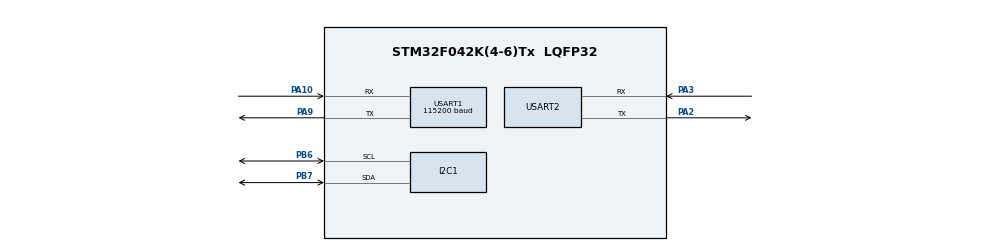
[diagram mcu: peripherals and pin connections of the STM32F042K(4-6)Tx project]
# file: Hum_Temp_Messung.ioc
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I2C1.Timing=0x00201D2B
Mcu.Family=STM32F0
Mcu.Name=STM32F042K(4-6)Tx
Mcu.Package=LQFP32
PA10.Mode=Asynchronous
PA10.Signal=USART1_RX
PA13.Mode=Serial_Wire
PA13.Signal=SYS_SWDIO
PA14.Mode=Serial_Wire
PA14.Signal=SYS_SWCLK
PA2.Mode=Asynchronous
PA2.Signal=USART2_TX
PA3.Mode=Asynchronous
PA3.Signal=USART2_RX
PA9.Mode=Asynchronous
PA9.Signal=USART1_TX
PB6.Mode=I2C
PB6.Signal=I2C1_SCL
PB7.Mode=I2C
PB7.Signal=I2C1_SDA
ProjectManager.HeapSize=0x200
ProjectManager.StackSize=0x400
ProjectManager.TargetToolchain=STM32CubeIDE
USART1.BaudRate=115200
USART1.VirtualMode-Asynchronous=VM_ASYNC
USART2.VirtualMode-Asynchronous=VM_ASYNC
board=NUCLEO-F042K6

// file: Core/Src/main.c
/* USER CODE BEGIN Header */
/**
  ******************************************************************************
  * @file           : main.c
  * @brief          : Main program body
  ******************************************************************************
  * @attention
  *
  * Copyright (c) 2026 STMicroelectronics.
  * All rights reserved.
  *
  * This software is licensed under terms that can be found in the LICENSE file
  * in the root directory of this software component.
  * If no LICENSE file comes with this software, it is provided AS-IS.
  *
  ******************************************************************************
  */
/* USER CODE END Header */
#include "main.h"

/* USER CODE BEGIN Includes */
#include "string.h"
#include "stdio.h"
#include <stdbool.h>
#include <stdlib.h>
/* USER CODE END Includes */

/* USER CODE BEGIN PTD */

// Neue Variablen als Integer (2 Dezimalstellen, z.B. 2345 = 23,45°C)
int32_t temperature_x100 = 0;
int32_t humidity_x100 = 0;

bool esp_connected = false;

/* USER CODE END PTD */

/* USER CODE BEGIN PD */

#define SLAVE_ID 1

#define RX_BUF_SIZE          1500

// --- WLAN Zugangsdaten ---
#define WIFI_SSID            "Tyler"
#define WIFI_PASS            "12345678"

// --- Ziel: ESP#2 (TCP-Server) ---
#define ESP2_IP              "10.49.147.123"   // <- später anpassen!
#define ESP2_PORT            5000             // <- später anpassen!

// --- Sendeintervall ---
#define SEND_INTERVAL_MS     4000

/* USER CODE END PD */

I2C_HandleTypeDef hi2c1;

UART_HandleTypeDef huart1;
UART_HandleTypeDef huart2;

void SystemClock_Config(void);
static void MX_GPIO_Init(void);
static void MX_USART2_UART_Init(void);
static void MX_I2C1_Init(void);
static void MX_USART1_UART_Init(void);

/* USER CODE BEGIN 0 */

/* ----------------------------------------------------------
 *  Sensor auslesen
 * ---------------------------------------------------------- */
void sht3x_read(void) {

  HAL_UART_Transmit(&huart2, (uint8_t*)"Lese Sensor...\r\n", 17, HAL_MAX_DELAY);

  uint8_t cmd[] = {0x24, 0x00};  // Single shot, high repeatability, no clock stretching, Messung mit hoher Genauigkeit
  uint8_t data[6]; //6 Bytes von SHT3X für die Werte
  char msg[64];    //Für Textuelle Ausgabe

  if (HAL_I2C_Master_Transmit(&hi2c1, (0x44 << 1), cmd, 2, HAL_MAX_DELAY) != HAL_OK) {    //Sendet cmd mit 2 Bytes und überprüft ob es geklappt hat
    HAL_UART_Transmit(&huart2, (uint8_t*)"Fehler beim Senden\r\n", 22, HAL_MAX_DELAY);    //Fehlermeldung Falls es nicht geklappt hat
    return;
  }

  HAL_Delay(15);  // Messzeit abwarten(Wert von Datenblatt)

  if (HAL_I2C_Master_Receive(&hi2c1, (0x44 << 1), data, 6, HAL_MAX_DELAY) != HAL_OK) {    //Es werden 6 Bytes(Werte) vom Sensor in das Array data eingelesen und überprüft ob es geklappt hat
    HAL_UART_Transmit(&huart2, (uint8_t*)"Fehler beim Empfangen\r\n", 25, HAL_MAX_DELAY); //Fehlermeldung Falls es nicht geklappt hat
    return;
  }

  // Temperatur berechnen, ohne float
  uint16_t temp_raw = (data[0] << 8) | data[1]; //Rohwerte zusammenbauen
  // Formel: temp = -45 + 175 * (temp_raw / 65535)
  // Umrechnung in Ganzzahl mit Faktor 100:
  // temperature_x100 = (-45 + 175 * temp_raw / 65535) * 100
  // => temperature_x100 = -4500 + (17500 * temp_raw) / 65535
  temperature_x100 = -4500 + (17500 * (int32_t)temp_raw) / 65535; //Berechnung von Temp Werten

  // Feuchtigkeit berechnen, ohne float
  uint16_t hum_raw = (data[3] << 8) | data[4]; //Rohwerte zusammenbauen
  // Formel: humidity = 100 * (hum_raw / 65535)
  // => humidity_x100 = (10000 * hum_raw) / 65535
  humidity_x100 = (10000 * (int32_t)hum_raw) / 65535; //Berechnung von Hum Werten

  // Ausgabe über UART, mit fester Kommazahl (2 Dezimalstellen)
  snprintf(msg, sizeof(msg), "Temp: %ld.%02ld C, Feuchte: %ld.%02ld %%\r\n",
           temperature_x100 / 100, temperature_x100 % 100, //Werte mit 2 Kommastellen angeben
           humidity_x100 / 100, humidity_x100 % 100);      //Werte mit 2 Kommastellen angeben

  HAL_UART_Transmit(&huart2, (uint8_t*)msg, strlen(msg), HAL_MAX_DELAY);

}

void ESP_SendCmd(const char *cmd, uint32_t timeout)
{
    uint8_t rx[RX_BUF_SIZE];
    uint16_t idx = 0;
    uint8_t ch;
    uint32_t start = HAL_GetTick();

    memset(rx, 0, RX_BUF_SIZE);
    HAL_UART_Transmit(&huart1, (uint8_t*)cmd, strlen(cmd), HAL_MAX_DELAY);

    // Debug-Ausgabe
    HAL_UART_Transmit(&huart2, (uint8_t*)">>> ", 4, HAL_MAX_DELAY);
    HAL_UART_Transmit(&huart2, (uint8_t*)cmd, strlen(cmd), HAL_MAX_DELAY);

    while ((HAL_GetTick() - start) < timeout && idx < (RX_BUF_SIZE - 1))
    {
        if (HAL_UART_Receive(&huart1, &ch, 1, 200) == HAL_OK)
        {
            rx[idx++] = ch;
        }
    }
    rx[idx] = '\0';
    HAL_UART_Transmit(&huart2, (uint8_t*)" <- ", 4, HAL_MAX_DELAY);
    HAL_UART_Transmit(&huart2, rx, strlen((char*)rx), HAL_MAX_DELAY);
    HAL_UART_Transmit(&huart2, (uint8_t*)"\r\n", 2, HAL_MAX_DELAY);
}

void ESP_Init(void)
{
    HAL_UART_Transmit(&huart2, (uint8_t*)"\r\n--- ESP WLAN Verbinden (Client) ---\r\n", 38, HAL_MAX_DELAY);

    // 1) Test, Reset, Basis-Setup
    ESP_SendCmd("AT\r\n", 2000);
    HAL_Delay(300);
    ESP_SendCmd("AT+RST\r\n", 5000);
    HAL_Delay(3000); // warten bis "ready"
    ESP_SendCmd("AT\r\n", 2000);
    HAL_Delay(300);
    ESP_SendCmd("ATE0\r\n", 1000);              // Echo aus
    HAL_Delay(100);
    ESP_SendCmd("AT+CIPDINFO=0\r\n", 1000);     // kompakter +IPD-Header
    HAL_Delay(100);

    // 2) Station-Mode
    ESP_SendCmd("AT+CWMODE_DEF=1\r\n", 2000);
    HAL_Delay(200);

    // 3) Vorherige WLAN-Verbindung trennen
    ESP_SendCmd("AT+CWQAP\r\n", 2000);
    HAL_Delay(200);

    // 4) Mit WLAN verbinden (Hotspot)
    char joinCmd[128];
    snprintf(joinCmd, sizeof(joinCmd), "AT+CWJAP=\"%s\",\"%s\"\r\n", WIFI_SSID, WIFI_PASS);
    ESP_SendCmd(joinCmd, 30000);
    HAL_Delay(1000);

    // 5) IP anzeigen
    ESP_SendCmd("AT+CIFSR\r\n", 3000);

    // 6) Single-Connection-Mode
    ESP_SendCmd("AT+CIPMUX=0\r\n", 2000);
    HAL_Delay(200);
}

static bool ESP_WaitForChar(uint8_t target, uint32_t timeout_ms) {
    uint32_t start = HAL_GetTick();
    uint8_t ch;
    while ((HAL_GetTick() - start) < timeout_ms) {
        if (HAL_UART_Receive(&huart1, &ch, 1, 100) == HAL_OK) {
            if (ch == target) return true;
        }
    }
    HAL_UART_Transmit(&huart2, (uint8_t*)"Timeout waiting for prompt\r\n", 28, HAL_MAX_DELAY);
    return false;
}

static bool ESP_TCP_Connect(const char *ip, int port, uint32_t timeout_ms) {
    if (esp_connected) { // Bereits verbunden → nichts tun
        return true;
    }
    char cmd[96];
    snprintf(cmd, sizeof(cmd), "AT+CIPSTART=\"TCP\",\"%s\",%d\r\n", ip, port);
    ESP_SendCmd(cmd, timeout_ms);
    // Prüfen, ob "CONNECT" oder "ALREADY CONNECTED" im Antwortpuffer kam
    // (vereinfachte Variante)
    HAL_Delay(500); // Wir setzen es hier einfach auf true, wenn keine Fehlermeldung kam.
    esp_connected = true;
    return true;
}

static bool ESP_CIPSEND_Single(int len, uint32_t timeout_ms) {
    char cmd[32];
    snprintf(cmd, sizeof(cmd), "AT+CIPSEND=%d\r\n", len);
    HAL_UART_Transmit(&huart2, (uint8_t*)">>> ", 4, HAL_MAX_DELAY);
    HAL_UART_Transmit(&huart2, (uint8_t*)cmd, strlen(cmd), HAL_MAX_DELAY);
    HAL_UART_Transmit(&huart1, (uint8_t*)cmd, strlen(cmd), HAL_MAX_DELAY);
    if (!ESP_WaitForChar('>', timeout_ms)) {
        HAL_UART_Transmit(&huart2, (uint8_t*)"Kein '>' Prompt erhalten\r\n", 28, HAL_MAX_DELAY);
        return false;
    }
    return true;
}

static bool ESP_TCP_SendPayload(const char *buf, uint32_t timeout_ms) {
    int len = (int)strlen(buf);
    if (len <= 0) return false;
    if (!ESP_CIPSEND_Single(len, 2000)) {
        esp_connected = false;
        return false;
    }
    HAL_UART_Transmit(&huart1, (uint8_t*)buf, len, HAL_MAX_DELAY);
    uint32_t start = HAL_GetTick();
    const char *ok = "SEND OK";
    size_t okpos = 0;
    uint8_t ch;
    bool send_ok = false;
    while ((HAL_GetTick() - start) < timeout_ms) {
        if (HAL_UART_Receive(&huart1, &ch, 1, 100) == HAL_OK) {
            if (ch == ok[okpos]) {
                okpos++;
                if (ok[okpos] == '\0') {
                    send_ok = true;
                    break;
                }
            } else okpos = 0;
        }
    }
    if (!send_ok) {
        esp_connected = false; // Verbindung verloren
    }
    return send_ok;
}

static void ESP_TCP_Close(void) {
    ESP_SendCmd("AT+CIPCLOSE\r\n", 2000);
}

static void SendMeasurementOnce(void) {
    // 1) Sensor lesen
    sht3x_read();
    // Debug-Ausgabe auf UART
    char dbg[64];
    snprintf(dbg, sizeof(dbg), "Debug Sensor: T=%ld.%02ld H=%ld.%02ld\r\n", temperature_x100/100, labs(temperature_x100%100), humidity_x100/100, labs(humidity_x100%100));
    HAL_UART_Transmit(&huart2, (uint8_t*)dbg, strlen(dbg), HAL_MAX_DELAY);

    if (!esp_connected) {
        if (!ESP_TCP_Connect(ESP2_IP, ESP2_PORT, 5000)) {
            HAL_UART_Transmit(&huart2, (uint8_t*)"TCP Connect failed\r\n", 20, HAL_MAX_DELAY);
            return;
        }
    }

    // 3) Payload bauen
    char payload[64];
    snprintf(payload, sizeof(payload), "ID=%d;T=%ld.%02ld;H=%ld.%02ld\r\n", SLAVE_ID, temperature_x100 / 100, labs(temperature_x100 % 100), humidity_x100 / 100, labs(humidity_x100 % 100));

    // 4) Payload senden
    if (!ESP_TCP_SendPayload(payload, 3000)) {
        HAL_UART_Transmit(&huart2, (uint8_t*)"Senden fehlgeschlagen\r\n", 23, HAL_MAX_DELAY);
        ESP_TCP_Close(); // Verbindung schließen bei Fehler
    } else {
        HAL_UART_Transmit(&huart2, (uint8_t*)"Gesendet: ", 10, HAL_MAX_DELAY);
        HAL_UART_Transmit(&huart2, (uint8_t*)payload, strlen(payload), HAL_MAX_DELAY);
    }
}

/* USER CODE END 0 */

int main(void)
{

  /* MCU Configuration--------------------------------------------------------*/

  /* Reset of all peripherals, Initializes the Flash interface and the Systick. */
  HAL_Init();

  /* Configure the system clock */
  SystemClock_Config();

  /* Initialize all configured peripherals */
  MX_GPIO_Init();
  MX_USART2_UART_Init();
  MX_I2C1_Init();
  MX_USART1_UART_Init();
  /* USER CODE BEGIN 2 */

  /* --- ESP Initialisierung --- */
    ESP_Init();

    uint32_t lastSend = 0;

  /* USER CODE END 2 */

  /* Infinite loop */
  /* USER CODE BEGIN WHILE */
  while (1)
  {

	 uint32_t now = HAL_GetTick();
	  	      if (now - lastSend >= SEND_INTERVAL_MS) {
	  	          lastSend = now;
	  	          SendMeasurementOnce();
	  	      }

	  	      // (Optional) kleine Pause, um CPU zu schonen
	  	      HAL_Delay(100);

    /* USER CODE END WHILE */

  }
}

void SystemClock_Config(void)
{
  RCC_OscInitTypeDef RCC_OscInitStruct = {0};
  RCC_ClkInitTypeDef RCC_ClkInitStruct = {0};
  RCC_PeriphCLKInitTypeDef PeriphClkInit = {0};

  /** Initializes the RCC Oscillators according to the specified parameters
  * in the RCC_OscInitTypeDef structure.
  */
  RCC_OscInitStruct.OscillatorType = RCC_OSCILLATORTYPE_HSI;
  RCC_OscInitStruct.HSIState = RCC_HSI_ON;
  RCC_OscInitStruct.HSICalibrationValue = RCC_HSICALIBRATION_DEFAULT;
  RCC_OscInitStruct.PLL.PLLState = RCC_PLL_NONE;
  if (HAL_RCC_OscConfig(&RCC_OscInitStruct) != HAL_OK)
  {
    Error_Handler();
  }

  /** Initializes the CPU, AHB and APB buses clocks
  */
  RCC_ClkInitStruct.ClockType = RCC_CLOCKTYPE_HCLK|RCC_CLOCKTYPE_SYSCLK
                              |RCC_CLOCKTYPE_PCLK1;
  RCC_ClkInitStruct.SYSCLKSource = RCC_SYSCLKSOURCE_HSI;
  RCC_ClkInitStruct.AHBCLKDivider = RCC_SYSCLK_DIV1;
  RCC_ClkInitStruct.APB1CLKDivider = RCC_HCLK_DIV1;

  if (HAL_RCC_ClockConfig(&RCC_ClkInitStruct, FLASH_LATENCY_0) != HAL_OK)
  {
    Error_Handler();
  }
  PeriphClkInit.PeriphClockSelection = RCC_PERIPHCLK_USART1|RCC_PERIPHCLK_I2C1;
  PeriphClkInit.Usart1ClockSelection = RCC_USART1CLKSOURCE_PCLK1;
  PeriphClkInit.I2c1ClockSelection = RCC_I2C1CLKSOURCE_HSI;
  if (HAL_RCCEx_PeriphCLKConfig(&PeriphClkInit) != HAL_OK)
  {
    Error_Handler();
  }
}

static void MX_I2C1_Init(void)
{

  hi2c1.Instance = I2C1;
  hi2c1.Init.Timing = 0x00201D2B;
  hi2c1.Init.OwnAddress1 = 0;
  hi2c1.Init.AddressingMode = I2C_ADDRESSINGMODE_7BIT;
  hi2c1.Init.DualAddressMode = I2C_DUALADDRESS_DISABLE;
  hi2c1.Init.OwnAddress2 = 0;
  hi2c1.Init.OwnAddress2Masks = I2C_OA2_NOMASK;
  hi2c1.Init.GeneralCallMode = I2C_GENERALCALL_DISABLE;
  hi2c1.Init.NoStretchMode = I2C_NOSTRETCH_DISABLE;
  if (HAL_I2C_Init(&hi2c1) != HAL_OK)
  {
    Error_Handler();
  }

  /** Configure Analogue filter
  */
  if (HAL_I2CEx_ConfigAnalogFilter(&hi2c1, I2C_ANALOGFILTER_ENABLE) != HAL_OK)
  {
    Error_Handler();
  }

  /** Configure Digital filter
  */
  if (HAL_I2CEx_ConfigDigitalFilter(&hi2c1, 0) != HAL_OK)
  {
    Error_Handler();
  }

}

static void MX_USART1_UART_Init(void)
{

  huart1.Instance = USART1;
  huart1.Init.BaudRate = 115200;
  huart1.Init.WordLength = UART_WORDLENGTH_8B;
  huart1.Init.StopBits = UART_STOPBITS_1;
  huart1.Init.Parity = UART_PARITY_NONE;
  huart1.Init.Mode = UART_MODE_TX_RX;
  huart1.Init.HwFlowCtl = UART_HWCONTROL_NONE;
  huart1.Init.OverSampling = UART_OVERSAMPLING_16;
  huart1.Init.OneBitSampling = UART_ONE_BIT_SAMPLE_DISABLE;
  huart1.AdvancedInit.AdvFeatureInit = UART_ADVFEATURE_NO_INIT;
  if (HAL_UART_Init(&huart1) != HAL_OK)
  {
    Error_Handler();
  }

}

static void MX_USART2_UART_Init(void)
{

  huart2.Instance = USART2;
  huart2.Init.BaudRate = 38400;
  huart2.Init.WordLength = UART_WORDLENGTH_8B;
  huart2.Init.StopBits = UART_STOPBITS_1;
  huart2.Init.Parity = UART_PARITY_NONE;
  huart2.Init.Mode = UART_MODE_TX_RX;
  huart2.Init.HwFlowCtl = UART_HWCONTROL_NONE;
  huart2.Init.OverSampling = UART_OVERSAMPLING_16;
  huart2.Init.OneBitSampling = UART_ONE_BIT_SAMPLE_DISABLE;
  huart2.AdvancedInit.AdvFeatureInit = UART_ADVFEATURE_NO_INIT;
  if (HAL_UART_Init(&huart2) != HAL_OK)
  {
    Error_Handler();
  }

}

static void MX_GPIO_Init(void)
{

  /* GPIO Ports Clock Enable */
  __HAL_RCC_GPIOA_CLK_ENABLE();
  __HAL_RCC_GPIOB_CLK_ENABLE();

}

void Error_Handler(void)
{
  __disable_irq();
  while (1)
  {
  }
}
